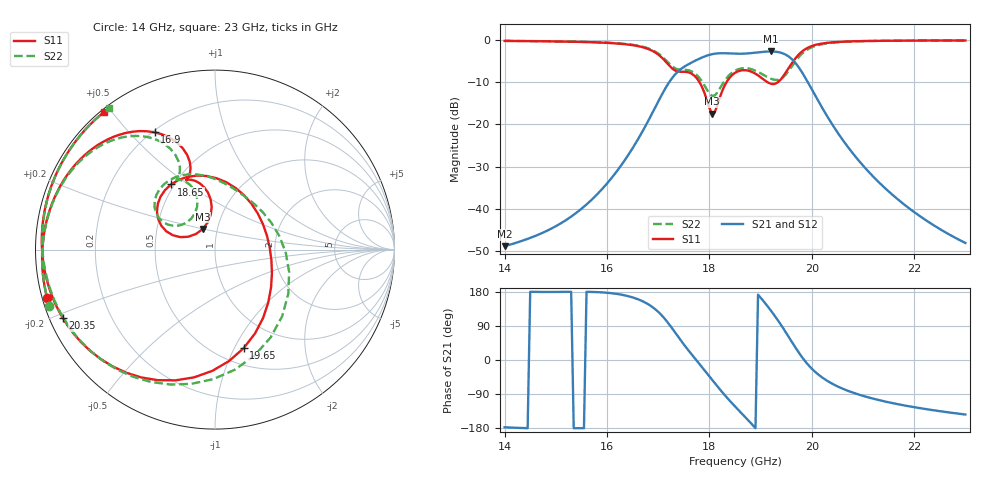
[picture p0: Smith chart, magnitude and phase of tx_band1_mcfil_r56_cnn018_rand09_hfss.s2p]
! Touchstone file exported from HFSS 3D Layout Design 2026.1.0
!  File:  D:/Work/SIM/ADS_AUTO_SIM/projects/RFSOC_RF/TX_Fillter.aedt
!  Generated:  05:48:21 AM Aug 31, 2026
!  Design:  TX_BAND1_MCFIL_R56_CNN018
!  Project:  TX_Fillter
# GHz S MA R 50.000000
! Terminal data exported
! Port[1] = Port1
! Port[2] = Port2
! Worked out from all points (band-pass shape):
!   181 points, 14 GHz to 23 GHz, reference 50 ohm
!   highest |S21| = -2.73 dB at 19.2 GHz (marker M1); lowest = -48.9 dB at 14 GHz (marker M2)
!   |S21| within 3 dB of the highest: 17.6 GHz to 19.7 GHz (2.103 GHz wide, 11.3 % of centre)
!   lowest |S11| = -17.5 dB at 18.05 GHz (marker M3), VSWR 1.31, Z = 42.5 + j9.88 ohm
!   |S11| at or under -10 dB: 17.81 GHz to 18.34 GHz (530.2 MHz wide, 2.93 % of centre); 19.13 GHz to 19.34 GHz (205.2 MHz wide, 1.07 % of centre)
!   |S22| runs from -13.3 to -0.1 dB; largest |S21 - S12| = 1.3e-14
!   S11 on the Smith chart (normalised r, x): 14 GHz: 0.01, -0.14; 16.9 GHz: 0.21, +0.59; 18.65 GHz: 0.48, +0.43; 19.65 GHz: 0.67, -1.09; 20.35 GHz: 0.04, -0.21; 23 GHz: 0.01, +0.48
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14  0.9735 -164.0  0.003607 -177.5  0.003607 -177.5  0.9746 -161.2
15.5  0.9468 166.5  0.00999 -179.9  0.00999 -179.9  0.9495 169.6
16.3  0.8963 144.0  0.03422 171.9  0.03422 171.9  0.9025 147.8
16.9  0.7351 117.2  0.1418 138.4  0.1418 138.4  0.7511 122.7
17  0.6716 112.0  0.1859 127.1  0.1859 127.1  0.6909 117.9
17.2  0.5091 106.0  0.3062 96.7  0.3062 96.7  0.5356 112.4
17.45  0.4191 112.7  0.4545 50.2  0.4545 50.2  0.4438 118.9
17.8  0.3207 97.1  0.5979 -9.6  0.5979 -9.6  0.3574 109.5
18.05  0.1335 121.1  0.6776 -51.7  0.6776 -51.7  0.2174 127.4
18.25  0.2485 161.2  0.6963 -84.8  0.6963 -84.8  0.2964 152.1
18.5  0.4076 141.5  0.6868 -122.5  0.6868 -122.5  0.4326 140.8
18.65  0.4378 124.0  0.6866 -143.7  0.6866 -143.7  0.4618 128.2
18.95  0.3805 80.5  0.7124 172.4  0.7124 172.4  0.4182 98.9
19.2  0.3023 27.8  0.7302 130.6  0.7302 130.6  0.3469 67.4
19.4  0.3433 -22.5  0.7042 92.3  0.7042 92.3  0.3476 25.7
19.65  0.5722 -73.9  0.56 39.3  0.56 39.3  0.5271 -44.8
19.8  0.7211 -99.3  0.4216 9.2  0.4216 9.2  0.6789 -80.8
20  0.8461 -125.9  0.26 -22.9  0.26 -22.9  0.819 -115.8
20.35  0.9301 -155.9  0.1114 -58.9  0.1114 -58.9  0.9199 -152.3
20.8  0.9625 -178.7  0.04544 -86.0  0.04544 -86.0  0.9595 -178.2
21.5  0.978 159.1  0.01606 -111.6  0.01606 -111.6  0.9778 157.9
23  0.9849 129.0  0.003934 -143.9  0.003934 -143.9  0.9854 126.9
